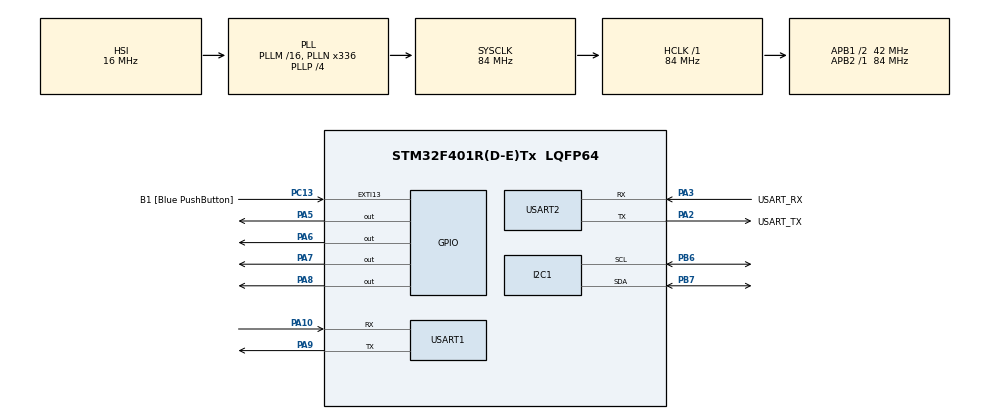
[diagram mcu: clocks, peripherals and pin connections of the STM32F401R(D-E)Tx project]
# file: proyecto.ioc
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Mcu.Family=STM32F4
PA2.GPIO_PuPd=GPIO_NOPULL
FREERTOS.Queues01=myQueue01,16,uint16_t,0,Dynamic,NULL,NULL
RCC.CortexFreq_Value=84000000
PA14.GPIO_Label=TCK
PA3.GPIO_PuPd=GPIO_NOPULL
PA2.GPIO_Speed=GPIO_SPEED_FREQ_LOW
PA3.GPIO_Speed=GPIO_SPEED_FREQ_LOW
RCC.SYSCLKSource=RCC_SYSCLKSOURCE_PLLCLK
ProjectManager.StackSize=0x400
VP_FREERTOS_VS_CMSIS_V2.Mode=CMSIS_V2
PH0\ -\ OSC_IN.Signal=RCC_OSC_IN
RCC.HCLKFreq_Value=84000000
RCC.APB2TimFreq_Value=84000000
PB6.Signal=I2C1_SCL
PB6.Mode=I2C
RCC.AHBFreq_Value=84000000
RCC.HSE_VALUE=8000000
PC13-ANTI_TAMP.Signal=GPXTI13
PC14-OSC32_IN.Mode=LSE-External-Oscillator
PA14.Mode=Serial_Wire
VP_SYS_VS_tim1.Mode=TIM1
PB7.Signal=I2C1_SDA
PA8.Signal=GPIO_Output
Mcu.Package=LQFP64
PA6.Signal=GPIO_Output
NVIC.TimeBase=TIM1_UP_TIM10_IRQn
USART2.VirtualMode=VM_ASYNC
PA2.GPIO_Label=USART_TX
NVIC.TimeBaseIP=TIM1
PA10.Signal=USART1_RX
RCC.APB1TimFreq_Value=84000000
NVIC.USART1_IRQn=true\:5\:0\:false\:false\:true\:true\:true\:true
PA3.Signal=USART2_RX
PA2.GPIO_Mode=GPIO_MODE_AF_PP
PB3.GPIO_Label=SWO
PC15-OSC32_OUT.Mode=LSE-External-Oscillator
FREERTOS.Tasks01=tarea_wifi,24,960,funcion_wifi,Default,NULL,Dynamic,NULL,NULL;tarea_LCD,24,960,funcion_LCD,Default,NULL,Dynamic,NULL,NULL
PA10.Mode=Asynchronous
PC13-ANTI_TAMP.GPIO_PuPd=GPIO_NOPULL
PC13-ANTI_TAMP.GPIO_Label=B1 [Blue PushButton]
PH1\ -\ OSC_OUT.Mode=HSE-External-Clock-Source
RCC.APB1CLKDivider=RCC_HCLK_DIV2
PC14-OSC32_IN.Signal=RCC_OSC32_IN
NVIC.USART2_IRQn=true\:5\:0\:false\:false\:true\:true\:true\:true
PA13.Signal=SYS_JTMS-SWDIO
PA3.Mode=Asynchronous
PA9.Mode=Asynchronous
PH0\ -\ OSC_IN.Mode=HSE-External-Clock-Source
ProjectManager.TargetToolchain=STM32CubeIDE
PA3.GPIO_Mode=GPIO_MODE_AF_PP
PA9.Signal=USART1_TX
PC15-OSC32_OUT.Signal=RCC_OSC32_OUT
PA5.Signal=GPIO_Output
PH1\ -\ OSC_OUT.Signal=RCC_OSC_OUT
board=NUCLEO-F401RE
RCC.VCOOutputFreq_Value=336000000
RCC.APB2Freq_Value=84000000
PA13.Mode=Serial_Wire
Mcu.Name=STM32F401R(D-E)Tx
PA13.GPIO_Label=TMS
PA2.Signal=USART2_TX
RCC.48MHZClocksFreq_Value=48000000
PB3.Signal=SYS_JTDO-SWO
RCC.SYSCLKFreq_VALUE=84000000
USART1.VirtualMode=VM_ASYNC
PC13-ANTI_TAMP.GPIO_ModeDefaultEXTI=GPIO_MODE_IT_FALLING
PB7.Mode=I2C
PA14.Signal=SYS_JTCK-SWCLK
ProjectManager.HeapSize=0x200
NVIC.TIM1_UP_TIM10_IRQn=true\:0\:0\:false\:false\:true\:false\:false\:true
RCC.HSI_VALUE=16000000
RCC.PLLP=RCC_PLLP_DIV4
RCC.PLLQ=7
NVIC.PriorityGroup=NVIC_PRIORITYGROUP_4
RCC.PLLN=336
PA2.Mode=Asynchronous
RCC.APB1Freq_Value=42000000
PA3.GPIO_Label=USART_RX
PA7.Signal=GPIO_Output

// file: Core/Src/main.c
/*
 *
 * Protocolo de comunicacion
 * Ing. Josue Huaman
 *
 */

/* USER CODE END Header */
#include "main.h"
#include "cmsis_os.h"

/* USER CODE BEGIN Includes */
#include "ESP8266_HAL.h"
#include "i2c-lcd.h"
/* USER CODE END Includes */

I2C_HandleTypeDef hi2c1;

UART_HandleTypeDef huart1;
UART_HandleTypeDef huart2;

/* Definitions for tarea_wifi */
osThreadId_t tarea_wifiHandle;
const osThreadAttr_t tarea_wifi_attributes = { .name = "tarea_wifi",
		.stack_size = 980 * 4, .priority = (osPriority_t) osPriorityNormal, };
/* Definitions for tarea_LCD */
osThreadId_t tarea_LCDHandle;
const osThreadAttr_t tarea_LCD_attributes = { .name = "tarea_LCD", .stack_size =
		980 * 4, .priority = (osPriority_t) osPriorityNormal, };
/* Definitions for myQueue01 */
osMessageQueueId_t myQueue01Handle;
const osMessageQueueAttr_t myQueue01_attributes = { .name = "myQueue01" };

void SystemClock_Config(void);
static void MX_GPIO_Init(void);
static void MX_USART2_UART_Init(void);
static void MX_USART1_UART_Init(void);
static void MX_I2C1_Init(void);
void funcion_wifi(void *argument);
void funcion_LCD(void *argument);

int main(void) {

	/* MCU Configuration--------------------------------------------------------*/

	/* Reset of all peripherals, Initializes the Flash interface and the Systick. */
	HAL_Init();

	/* Configure the system clock */
	SystemClock_Config();

	/* Initialize all configured peripherals */
	MX_GPIO_Init();
	MX_USART2_UART_Init();
	MX_USART1_UART_Init();
	MX_I2C1_Init();

	/* Init scheduler */
	osKernelInitialize();

	/* Create the queue(s) */
	/* creation of myQueue01 */
	myQueue01Handle = osMessageQueueNew(16, sizeof(uint16_t),
			&myQueue01_attributes);

	/* Create the thread(s) */
	/* creation of tarea_wifi */
	tarea_wifiHandle = osThreadNew(funcion_wifi, NULL, &tarea_wifi_attributes);

	/* creation of tarea_LCD */
	tarea_LCDHandle = osThreadNew(funcion_LCD, NULL, &tarea_LCD_attributes);

	/* Start scheduler */
	osKernelStart();

	/* We should never get here as control is now taken by the scheduler */
	/* Infinite loop */
	while (1) {

	}
}

void SystemClock_Config(void) {
	RCC_OscInitTypeDef RCC_OscInitStruct = { 0 };
	RCC_ClkInitTypeDef RCC_ClkInitStruct = { 0 };

	/** Configure the main internal regulator output voltage
	 */
	__HAL_RCC_PWR_CLK_ENABLE();
	__HAL_PWR_VOLTAGESCALING_CONFIG(PWR_REGULATOR_VOLTAGE_SCALE2);
	/** Initializes the RCC Oscillators according to the specified parameters
	 * in the RCC_OscInitTypeDef structure.
	 */
	RCC_OscInitStruct.OscillatorType = RCC_OSCILLATORTYPE_HSI;
	RCC_OscInitStruct.HSIState = RCC_HSI_ON;
	RCC_OscInitStruct.HSICalibrationValue = RCC_HSICALIBRATION_DEFAULT;
	RCC_OscInitStruct.PLL.PLLState = RCC_PLL_ON;
	RCC_OscInitStruct.PLL.PLLSource = RCC_PLLSOURCE_HSI;
	RCC_OscInitStruct.PLL.PLLM = 16;
	RCC_OscInitStruct.PLL.PLLN = 336;
	RCC_OscInitStruct.PLL.PLLP = RCC_PLLP_DIV4;
	RCC_OscInitStruct.PLL.PLLQ = 7;
	if (HAL_RCC_OscConfig(&RCC_OscInitStruct) != HAL_OK) {
		Error_Handler();
	}
	/** Initializes the CPU, AHB and APB buses clocks
	 */
	RCC_ClkInitStruct.ClockType = RCC_CLOCKTYPE_HCLK | RCC_CLOCKTYPE_SYSCLK
			| RCC_CLOCKTYPE_PCLK1 | RCC_CLOCKTYPE_PCLK2;
	RCC_ClkInitStruct.SYSCLKSource = RCC_SYSCLKSOURCE_PLLCLK;
	RCC_ClkInitStruct.AHBCLKDivider = RCC_SYSCLK_DIV1;
	RCC_ClkInitStruct.APB1CLKDivider = RCC_HCLK_DIV2;
	RCC_ClkInitStruct.APB2CLKDivider = RCC_HCLK_DIV1;

	if (HAL_RCC_ClockConfig(&RCC_ClkInitStruct, FLASH_LATENCY_2) != HAL_OK) {
		Error_Handler();
	}
}

static void MX_I2C1_Init(void) {

	hi2c1.Instance = I2C1;
	hi2c1.Init.ClockSpeed = 100000;
	hi2c1.Init.DutyCycle = I2C_DUTYCYCLE_2;
	hi2c1.Init.OwnAddress1 = 0;
	hi2c1.Init.AddressingMode = I2C_ADDRESSINGMODE_7BIT;
	hi2c1.Init.DualAddressMode = I2C_DUALADDRESS_DISABLE;
	hi2c1.Init.OwnAddress2 = 0;
	hi2c1.Init.GeneralCallMode = I2C_GENERALCALL_DISABLE;
	hi2c1.Init.NoStretchMode = I2C_NOSTRETCH_DISABLE;
	if (HAL_I2C_Init(&hi2c1) != HAL_OK) {
		Error_Handler();
	}

}

static void MX_USART1_UART_Init(void) {

	huart1.Instance = USART1;
	huart1.Init.BaudRate = 115200;
	huart1.Init.WordLength = UART_WORDLENGTH_8B;
	huart1.Init.StopBits = UART_STOPBITS_1;
	huart1.Init.Parity = UART_PARITY_NONE;
	huart1.Init.Mode = UART_MODE_TX_RX;
	huart1.Init.HwFlowCtl = UART_HWCONTROL_NONE;
	huart1.Init.OverSampling = UART_OVERSAMPLING_16;
	if (HAL_UART_Init(&huart1) != HAL_OK) {
		Error_Handler();
	}

}

static void MX_USART2_UART_Init(void) {

	huart2.Instance = USART2;
	huart2.Init.BaudRate = 115200;
	huart2.Init.WordLength = UART_WORDLENGTH_8B;
	huart2.Init.StopBits = UART_STOPBITS_1;
	huart2.Init.Parity = UART_PARITY_NONE;
	huart2.Init.Mode = UART_MODE_TX_RX;
	huart2.Init.HwFlowCtl = UART_HWCONTROL_NONE;
	huart2.Init.OverSampling = UART_OVERSAMPLING_16;
	if (HAL_UART_Init(&huart2) != HAL_OK) {
		Error_Handler();
	}

}

static void MX_GPIO_Init(void) {
	GPIO_InitTypeDef GPIO_InitStruct = { 0 };

	/* GPIO Ports Clock Enable */
	__HAL_RCC_GPIOC_CLK_ENABLE();
	__HAL_RCC_GPIOH_CLK_ENABLE();
	__HAL_RCC_GPIOA_CLK_ENABLE();
	__HAL_RCC_GPIOB_CLK_ENABLE();

	/*Configure GPIO pin Output Level */
	HAL_GPIO_WritePin(GPIOA, GPIO_PIN_5 | GPIO_PIN_6 | GPIO_PIN_7 | GPIO_PIN_8,
			GPIO_PIN_RESET);

	/*Configure GPIO pin : B1_Pin */
	GPIO_InitStruct.Pin = B1_Pin;
	GPIO_InitStruct.Mode = GPIO_MODE_IT_FALLING;
	GPIO_InitStruct.Pull = GPIO_NOPULL;
	HAL_GPIO_Init(B1_GPIO_Port, &GPIO_InitStruct);

	/*Configure GPIO pins : PA5 PA6 PA7 PA8 */
	GPIO_InitStruct.Pin = GPIO_PIN_5 | GPIO_PIN_6 | GPIO_PIN_7 | GPIO_PIN_8;
	GPIO_InitStruct.Mode = GPIO_MODE_OUTPUT_PP;
	GPIO_InitStruct.Pull = GPIO_NOPULL;
	GPIO_InitStruct.Speed = GPIO_SPEED_FREQ_LOW;
	HAL_GPIO_Init(GPIOA, &GPIO_InitStruct);

}

void funcion_wifi(void *argument) {
	/* USER CODE BEGIN 5 */
	ESP_Init("CASA 3", "N9T5K8T2b58");

	/* Infinite loop */
	for (;;) {

		Server_Start();
		osDelay(1);
	}
	/* USER CODE END 5 */
}

void funcion_LCD(void *argument) {
	/* USER CODE BEGIN funcion_LCD */
	lcd_init();
	lcd_clear();
	lcd_put_cur(0x0, 0x0);
	lcd_send_string("Estado:");  // send string to the lcd
	osDelay(2000);
	int a = 0;
	/* Infinite loop */
	for (;;) {

		osMessageQueueGet(myQueue01Handle, &a, 0, 0);
		lcd_put_cur(0x1, 0x0);
		if (a == 0) {
			lcd_send_string("avanza...");  // send string to the lcd
		} else if (a == 1) {
			lcd_send_string("retrocede...");  // send string to the lcd
		} else if (a == 2) {
			lcd_send_string("detenido.");  // send string to the lcd
		} else if (a == 3) {
			lcd_send_string("da una orden.");  // send string to the lcd
		}

		osDelay(200);
	}
	/* USER CODE END funcion_LCD */
}

void HAL_TIM_PeriodElapsedCallback(TIM_HandleTypeDef *htim) {
	if (htim->Instance == TIM1) {
		HAL_IncTick();
	}
}

void Error_Handler(void) {
	__disable_irq();
	while (1) {
	}
}

/************************ (C) COPYRIGHT STMicroelectronics *****END OF FILE****/
